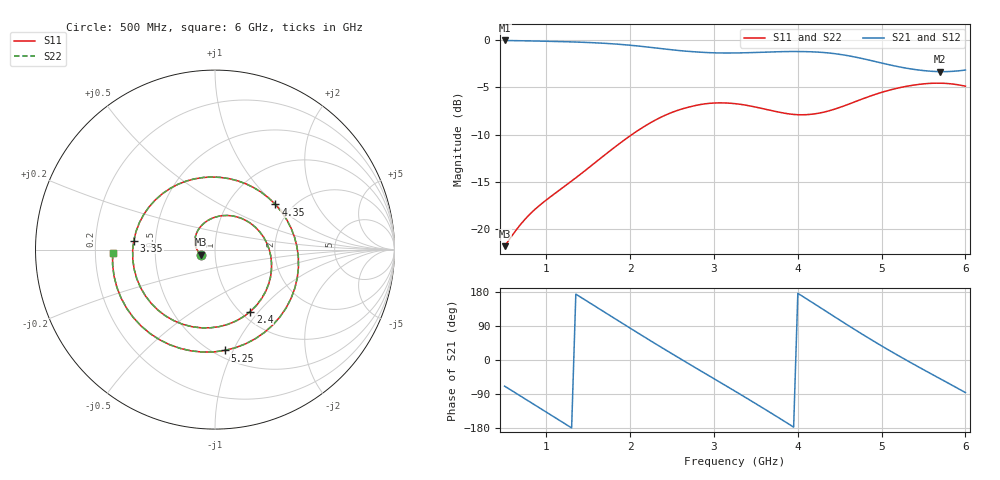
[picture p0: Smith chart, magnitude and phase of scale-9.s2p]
! Touchstone file from project sampleWidthScale-9
! Exported from HFSS-IE 2014.0.2
! Variables:
!  $perm = 6
!  impedance = 157.9ohm
!  insulationThickness = 0in
!  length = 4in
!  portSize = 1mm
!  sampleSide = 1.125in
!  sampleThickness = 0.25in
!  scale = 9
!  spacing = 0.25in
!  wireDiam = 0.125in
!  wireRadius = 0.0625in
# GHZ S MA R 157.900000
! Terminal data exported
! Port[1] = Rectangle2_T1
! Port[2] = Rectangle2_T2
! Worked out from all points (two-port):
!   111 points, 500 MHz to 6 GHz, reference 157.9 ohm
!   highest |S21| = -0.04 dB at 500 MHz (marker M1); lowest = -3.3 dB at 5.7 GHz (marker M2)
!   |S21| within 3 dB of the highest: start of sweep to 5.342 GHz
!   lowest |S11| = -21.8 dB at 500 MHz (marker M3), VSWR 1.18, Z = 135 - j7.83 ohm
!   |S11| at or under -10 dB: start of sweep to 2.018 GHz
!   |S22| runs from -21.8 to -4.6 dB; largest |S21 - S12| = 1.7e-14
!   S11 on the Smith chart (normalised r, x): 500 MHz: 0.86, -0.05; 2.4 GHz: 1.10, -0.90; 3.35 GHz: 0.38, +0.05; 4.35 GHz: 1.64, +1.00; 5.25 GHz: 0.56, -0.93; 6 GHz: 0.27, -0.02
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0.5  0.08139 -159.3  0.9958 -69.0  0.9958 -69.0  0.0814 -159.4
0.75  0.1137 166.2  0.9913 -103.4  0.9913 -103.4  0.1139 166.1
1.05  0.1487 124.9  0.9849 -144.8  0.9849 -144.8  0.1489 124.8
1.25  0.1732 97.4  0.98 -172.3  0.98 -172.3  0.1732 97.4
1.45  0.2025 69.9  0.9732 160.0  0.9732 160.0  0.2025 70.0
1.7  0.248 35.2  0.9614 125.3  0.9614 125.3  0.2483 35.3
1.9  0.29 7.6  0.9477 97.6  0.9477 97.6  0.29 7.5
2.1  0.3346 -19.8  0.9299 70.1  0.9299 70.1  0.3339 -19.9
2.35  0.388 -53.7  0.904 36.2  0.904 36.2  0.3869 -53.7
2.4  0.3976 -60.4  0.8987 29.5  0.8987 29.5  0.3966 -60.4
2.8  0.4532 -113.3  0.8654 -23.3  0.8654 -23.3  0.4536 -113.4
3.25  0.4613 -172.9  0.8553 -82.3  0.8553 -82.3  0.4615 -172.9
3.35  0.4551 173.7  0.8569 -95.5  0.8569 -95.5  0.4555 173.7
3.8  0.4139 112.7  0.8687 -156.3  0.8687 -156.3  0.4141 112.8
4  0.4033 85.4  0.8702 175.9  0.8702 175.9  0.4037 85.4
4.2  0.4074 57.7  0.8659 147.9  0.8659 147.9  0.4073 57.6
4.35  0.4203 36.7  0.8566 126.6  0.8566 126.6  0.4199 36.6
4.7  0.4755 -12.1  0.8109 77.5  0.8109 77.5  0.4754 -12.1
5.1  0.5448 -65.5  0.7392 24.3  0.7392 24.3  0.545 -65.5
5.25  0.5645 -84.5  0.7164 5.3  0.7164 5.3  0.5645 -84.5
5.7  0.5919 -140.2  0.6813 -49.6  0.6813 -49.6  0.5919 -140.2
6  0.5707 -178.1  0.6949 -86.0  0.6949 -86.0  0.5706 -178.1
